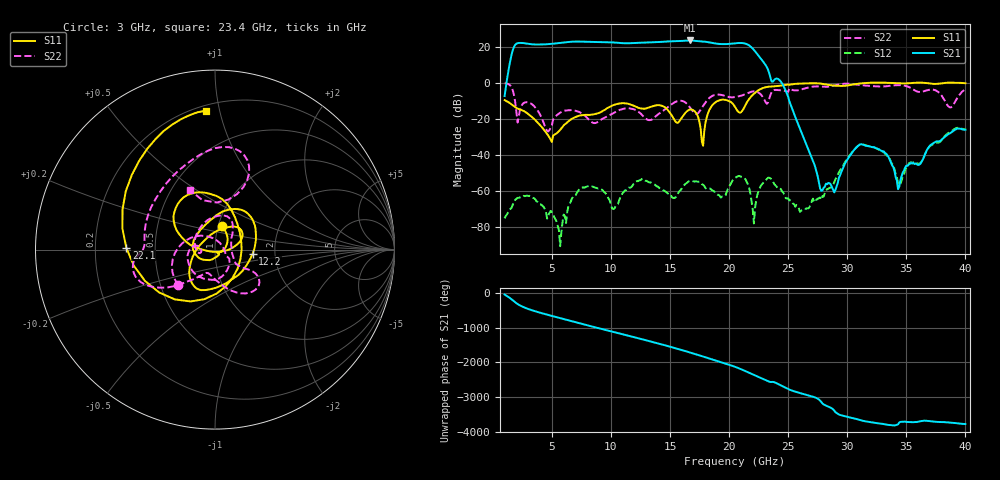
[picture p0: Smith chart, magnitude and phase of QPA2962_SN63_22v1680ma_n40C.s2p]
!File name = QPA2962_SN63_22v1680ma_n40C.s2p
!Base file name = QPA2962_SN63
!Date = 8/1/2020
!Time = 8:53 PM
!Test duration(min) = 0.48
!Test = S-Parameters
!MPTS version = 8.91.5
!State File = C:\data\QPA2962\20200608083801\State_Cal\SPARM\QPA2962_SPARM_3Temp_F1_40_p1_Pn20.sta
!Cal File =
!ComputerName = CMPE-LAB-12
!Comments = Ref_TRL_QPA2962_SAP293660
!Z0 = 50
!Input Power(dBm) = -20.00
!SN = 63
!Wafer = NA
!RC = NA
!CKT = NA
!VD = 22
!ID = 1680
!TEMP = -40
!COND = SPARM
!SWEEP = FRQ
!PULSE = CW
!set_Vg(v) = -3.500
!set_Vd(v) = 22.000
!set_Vd(mA) = 1680.000
!set_temp(c) = -99.0
!file_name = QPA2962_SN63_22v1680ma_n40C.s2p
!date_code = 20200801
!Test condition label = 22v1680ma_n40C
!Vg(V) = -1.853
!Vg(mA) = 0.001
!VD_DMM(V) = 22.007000
!ID_DMM(mA) = 1675.072000
!TEMP(V) = -0.074770
!Temp(C) = -98.60
# GHz  S  DB  R  50
!%	Freq(GHz)  s11(dB)  s11(deg)  s21(dB)  s21(deg)  s12(dB)  s12(deg)  s22(dB)  s22(deg)
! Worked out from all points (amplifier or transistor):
!   391 points, 1 GHz to 40 GHz, reference 50 ohm
!   highest |S21| = 23.3 dB at 16.7 GHz (marker M1)
!   |S21| within 3 dB of that: 1.844 GHz to 21.75 GHz (19.91 GHz wide, 169 % of centre)
!   unconditionally stable (mu >= 1): start of sweep to 31.9 GHz; 33.29 GHz to 35.82 GHz; 36.38 GHz to 38.42 GHz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
!   at 7.5 GHz: K = 27.85, MAG = 22.9 dB, |S12| = -57.9 dB
!   at 20.5 GHz: K = 14.04, MAG = 22.8 dB, |S12| = -52.7 dB
!   at 40 GHz: K = 6.78, MAG = -11.4 dB, |S12| = -25.9 dB
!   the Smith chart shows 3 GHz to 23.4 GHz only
!   S11 on the Smith chart (normalised r, x): 3 GHz: 1.04, +0.28; 12.2 GHz: 1.53, -0.07; 22.1 GHz: 0.34, +0.01; 23.4 GHz: 0.23, +0.91
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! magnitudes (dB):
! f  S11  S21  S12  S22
! 1 GHz  -9.6  -7.4  -75.0  -0.3
! 2.1 GHz  -14.3  21.9  -63.7  -22.0
! 3 GHz  -17.3  21.5  -62.6  -10.9
! 4.7 GHz  -29.3  21.3  -73.3  -26.9
! 5.8 GHz  -25.2  22.1  -82.8  -16.2
! 7.5 GHz  -18.0  22.7  -57.9  -16.8
! 10.2 GHz  -12.4  22.3  -69.8  -16.9
! 12.2 GHz  -13.5  22.0  -54.4  -15.5
! 14 GHz  -12.4  22.5  -57.5  -17.4
! 16.7 GHz  -14.8  23.3  -54.3  -13.8
! 17.8 GHz  -34.9  22.8  -56.4  -12.8
! 18.6 GHz  -12.3  21.9  -59.6  -7.2
! 20.5 GHz  -13.4  21.8  -52.7  -7.9
! 21.6 GHz  -9.9  21.0  -56.3  -5.7
! 22.1 GHz  -6.1  18.1  -77.8  -4.8
! 23.4 GHz  -2.2  5.2  -52.5  -8.9
! 27 GHz  -0.3  -41.5  -65.6  -2.2
! 28.9 GHz  -1.6  -60.6  -55.1  -1.6
! 31.1 GHz  -0.4  -34.1  -33.9  -1.3
! 33.5 GHz  -0.1  -41.1  -41.2  -1.8
! 34.3 GHz  -0.3  -58.9  -55.6  -1.4
! 40 GHz  -0.3  -26.0  -25.9  -3.7
